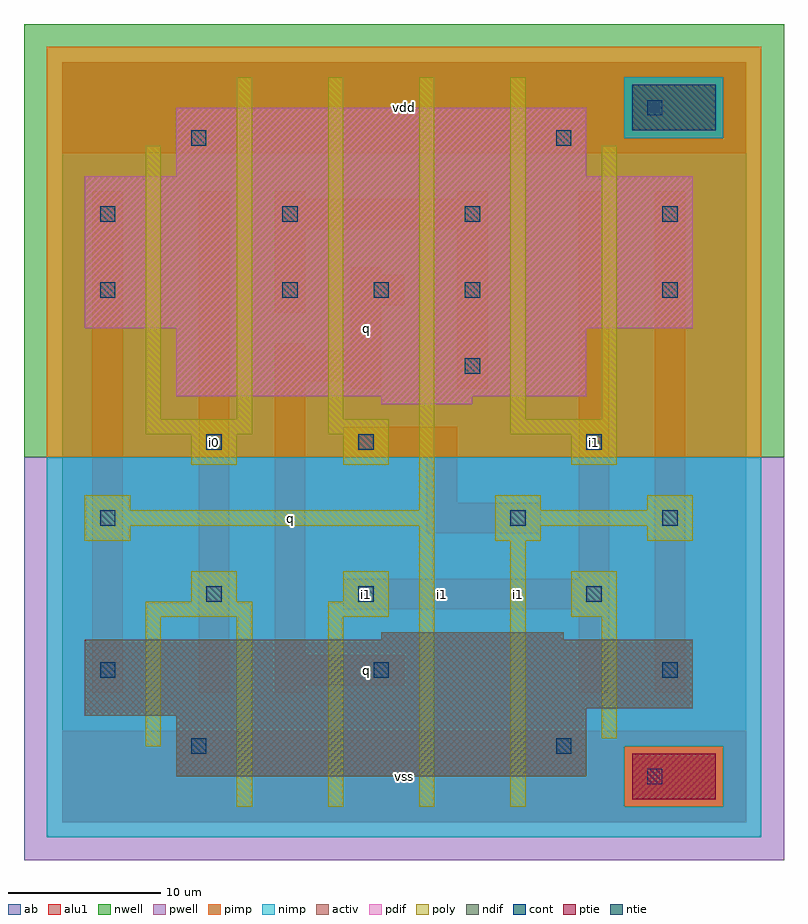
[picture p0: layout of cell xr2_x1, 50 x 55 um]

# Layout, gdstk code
import gdstk
lib = gdstk.Library(unit=1e-6, precision=1e-09)
def R(c, l, rs):  # rectangles x0, y0, x1, y1
    for r in rs: c.add(gdstk.rectangle(r[:2], r[2:], *l))
def A(c, l, x, y, w, h, nx, ny, dx, dy):  # array of equal rectangles
    R(c, l, [(x+i*dx, y+j*dy, x+i*dx+w, y+j*dy+h) for i in range(nx) for j in range(ny)])
ndif = (3, 0)
pdif = (4, 0)
ntie = (5, 0)
ptie = (6, 0)
cont = (25, 0)
pwell = (41, 0)
nwell = (42, 0)
activ = (43, 0)
pimp = (44, 0)
nimp = (45, 0)
poly = (46, 0)
alu1 = (49, 0)
ab = (63, 0)

xr2_x1 = lib.new_cell('xr2_x1')
R(xr2_x1, ndif, [(7.5,3,34.5,7), (1.5,7,34.5,7.5), (1.5,7.5,41.5,12), (21,12,33,12.5)])
R(xr2_x1, pdif, [(21,27.5,27,28), (7.5,28,34.5,32.5), (1.5,32.5,41.5,42.5), (7.5,42.5,34.5,47)])
R(xr2_x1, ntie, [(37.5,45.5,43,48.5)])
R(xr2_x1, ptie, [(37.5,1.5,43,4.5)])
A(xr2_x1, cont, 14.5, 34.5, 1, 1, 3, 1, 6, 0)
A(xr2_x1, cont, 2.5, 39.5, 1, 1, 3, 1, 12, 0)
R(xr2_x1, cont, [(38.5,2.5,39.5,3.5), (8.5,4.5,9.5,5.5), (32.5,4.5,33.5,5.5), (2.5,9.5,3.5,10.5), (20.5,9.5,21.5,10.5), (39.5,9.5,40.5,10.5), (9.5,14.5,10.5,15.5), (19.5,14.5,20.5,15.5), (34.5,14.5,35.5,15.5), (2.5,19.5,3.5,20.5), (29.5,19.5,30.5,20.5), (39.5,19.5,40.5,20.5), (9.5,24.5,10.5,25.5), (19.5,24.5,20.5,25.5), (34.5,24.5,35.5,25.5), (26.5,29.5,27.5,30.5), (2.5,34.5,3.5,35.5), (39.5,34.5,40.5,35.5), (39.5,39.5,40.5,40.5), (8.5,44.5,9.5,45.5), (32.5,44.5,33.5,45.5), (38.5,46.5,39.5,47.5)])
R(xr2_x1, pwell, [(-2.5,-2.5,47.5,24)])
R(xr2_x1, nwell, [(-2.5,24,47.5,52.5)])
R(xr2_x1, activ, [(37.5,1.5,43,4.5), (7.5,3,34.5,7), (1.5,7,34.5,7.5), (1.5,7.5,41.5,12), (21,12,33,12.5), (21,27.5,27,28), (7.5,28,34.5,32.5), (1.5,32.5,41.5,42.5), (7.5,42.5,34.5,47), (37.5,45.5,43,48.5)])
R(xr2_x1, pimp, [(37,1,43.5,5), (-1,24,46,45), (-1,45,37,49), (43.5,45,46,49), (-1,49,46,51)])
R(xr2_x1, nimp, [(-1,-1,46,1), (-1,1,37,5), (43.5,1,46,5), (-1,5,46,24), (37,45,43.5,49)])
R(xr2_x1, poly, [(11.5,1,12.5,13.5), (17.5,1,18.5,13.5), (23.5,1,24.5,19.5), (29.5,1,30.5,18.5), (5.5,5,6.5,13.5), (35.5,5.5,36.5,13.5), (5.5,13.5,12.5,14.5), (17.5,13.5,21.5,14.5), (33.5,13.5,36.5,16.5), (8.5,14.5,11.5,16.5), (18.5,14.5,21.5,16.5), (1.5,18.5,4.5,19.5), (28.5,18.5,31.5,19.5), (38.5,18.5,41.5,19.5), (1.5,19.5,24.5,20.5), (28.5,19.5,41.5,20.5), (1.5,20.5,4.5,21.5), (23.5,20.5,24.5,49), (28.5,20.5,31.5,21.5), (38.5,20.5,41.5,21.5), (8.5,23.5,11.5,25.5), (18.5,23.5,21.5,25.5), (33.5,23.5,36.5,25.5), (5.5,25.5,12.5,26.5), (17.5,25.5,21.5,26.5), (29.5,25.5,36.5,26.5), (5.5,26.5,6.5,44.5), (11.5,26.5,12.5,49), (17.5,26.5,18.5,49), (29.5,26.5,30.5,49), (35.5,26.5,36.5,44.5)])
R(xr2_x1, alu1, [(0,0,45,6), (0,0,45,6), (2,8.5,4,41.5), (2,8.5,4,41.5), (9,8.5,11,41.5), (9,8.5,11,41.5), (14,8.5,16,9), (14,8.5,16,9), (34,8.5,36,14), (34,8.5,36,14), (39,8.5,41,41.5), (39,8.5,41,41.5), (14,9,22.5,11), (14,9,22.5,11), (14,11,16,29), (14,11,16,29), (18.5,14,36,16), (18.5,14,36,16), (34,16,36,41.5), (34,16,36,41.5), (24,19,31.5,21), (24,19,31.5,21), (24,21,26,24), (24,21,26,24), (18.5,24,26,26), (18.5,24,26,26), (19,28.5,21,29), (19,28.5,21,29), (26,28.5,28,39), (26,28.5,28,39), (14,29,21,31), (14,29,21,31), (14,31,16,31.5), (14,31,16,31.5), (19,31,21,34), (19,31,21,34), (14,33.5,16,39), (14,33.5,16,39), (19,34,22.5,36), (19,34,22.5,36), (19,36,21,36.5), (19,36,21,36.5), (14,39,28,41), (14,39,28,41), (14,41,16,41.5), (14,41,16,41.5), (26,41,28,41.5), (26,41,28,41.5), (0,44,45,50), (0,44,45,50)])
R(xr2_x1, ab, [(0,0,45,50)])
xr2_x1.add(gdstk.Label('q', (20,10), layer=49, texttype=0))
xr2_x1.add(gdstk.Label('q', (15,20), layer=49, texttype=0))
xr2_x1.add(gdstk.Label('i1', (20,15), layer=49, texttype=0))
xr2_x1.add(gdstk.Label('i0', (10,25), layer=49, texttype=0))
xr2_x1.add(gdstk.Label('q', (20,32.5), layer=49, texttype=0))
xr2_x1.add(gdstk.Label('vss', (22.5,3), layer=49, texttype=0))
xr2_x1.add(gdstk.Label('i1', (25,15), layer=49, texttype=0))
xr2_x1.add(gdstk.Label('i1', (30,15), layer=49, texttype=0))
xr2_x1.add(gdstk.Label('vdd', (22.5,47), layer=49, texttype=0))
xr2_x1.add(gdstk.Label('i1', (35,25), layer=49, texttype=0))

lib.write_gds('xr2_x1.gds')
